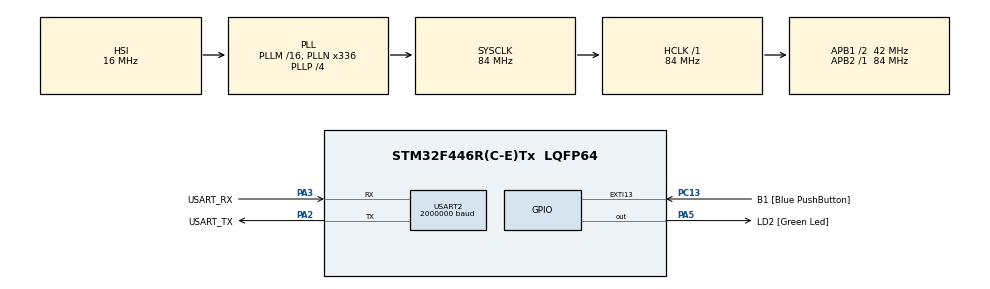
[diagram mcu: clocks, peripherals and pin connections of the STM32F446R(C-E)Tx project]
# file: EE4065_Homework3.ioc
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Mcu.Family=STM32F4
Mcu.Name=STM32F446R(C-E)Tx
Mcu.Package=LQFP64
NVIC.PriorityGroup=NVIC_PRIORITYGROUP_0
PA13.GPIO_Label=TMS
PA13.Signal=SYS_JTMS-SWDIO
PA14.GPIO_Label=TCK
PA14.Signal=SYS_JTCK-SWCLK
PA2.GPIO_Label=USART_TX
PA2.Mode=Asynchronous
PA2.Signal=USART2_TX
PA3.GPIO_Label=USART_RX
PA3.Mode=Asynchronous
PA3.Signal=USART2_RX
PA5.GPIO_Label=LD2 [Green Led]
PA5.Signal=GPIO_Output
PB3.GPIO_Label=SWO
PB3.Signal=SYS_JTDO-SWO
PC13.GPIO_Label=B1 [Blue PushButton]
PC13.GPIO_ModeDefaultEXTI=GPIO_MODE_IT_FALLING
PC13.Signal=GPXTI13
PC14-OSC32_IN.Signal=RCC_OSC32_IN
PC15-OSC32_OUT.Signal=RCC_OSC32_OUT
PH0-OSC_IN.Signal=RCC_OSC_IN
PH1-OSC_OUT.Signal=RCC_OSC_OUT
ProjectManager.HeapSize=0x200
ProjectManager.StackSize=0x400
ProjectManager.TargetToolchain=STM32CubeIDE
RCC.AHBFreq_Value=84000000
RCC.APB1CLKDivider=RCC_HCLK_DIV2
RCC.APB1Freq_Value=42000000
RCC.APB1TimFreq_Value=84000000
RCC.APB2Freq_Value=84000000
RCC.APB2TimFreq_Value=84000000
RCC.CortexFreq_Value=84000000
RCC.FLatency-AdvancedSettings=FLASH_LATENCY_2
RCC.HCLKFreq_Value=84000000
RCC.HSE_VALUE=8000000
RCC.HSI_VALUE=16000000
RCC.LSE_VALUE=32768
RCC.PLLN=336
RCC.PLLP=RCC_PLLP_DIV4
RCC.SYSCLKFreq_VALUE=84000000
RCC.SYSCLKSource=RCC_SYSCLKSOURCE_PLLCLK
RCC.USBFreq_Value=168000000
RCC.VCOOutputFreq_Value=336000000
USART2.BaudRate=2000000
USART2.VirtualMode=VM_ASYNC
board=NUCLEO-F446RE

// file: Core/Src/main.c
/* USER CODE BEGIN Header */
/**
  ******************************************************************************
  * @file           : main.c
  * @brief          : Main program body
  ******************************************************************************
  * @attention
  *
  * Copyright (c) 2025 STMicroelectronics.
  * All rights reserved.
  *
  * This software is licensed under terms that can be found in the LICENSE file
  * in the root directory of this software component.
  * If no LICENSE file comes with this software, it is provided AS-IS.
  *
  ******************************************************************************
  */
/* USER CODE END Header */
#include "main.h"

/* USER CODE BEGIN Includes */
#include "image_processing.h"
#include "lib_image.h"
#include "lib_serialimage.h"
#include "app_homeworks.h"
/* USER CODE END Includes */

UART_HandleTypeDef huart2;

/* USER CODE BEGIN PV */
#define IMG_WIDTH 128
#define IMG_HEIGHT 128
#define NUM_PIXELS (IMG_WIDTH * IMG_HEIGHT) // 16384 olmalı

// 1. GİRİŞ/ÇIKIŞ BUFFER'LARI (RGB565 formatında)
// Seri porttan gelen ve giden veriler bu yapıyı kullanır (2 Byte/Piksel).
volatile uint8_t pImage_RGB565[IMG_WIDTH * IMG_HEIGHT * 2];

// 2. İŞLEME BUFFER'LARI (8-bit Gri Tonlama formatında)
// Görüntü işleme bu buffer üzerinde yapılır (1 Byte/Piksel).
uint8_t processed_image[NUM_PIXELS];
uint8_t original_gray_image[NUM_PIXELS];
// Diğer histogram ve kernel tanımları burada kalır...

// SERİ İLETİŞİM YAPISI (lib_image.h'den gelmelidir)
IMAGE_HandleTypeDef img; // Tek bir yapıyı hem alma hem gönderme için kullanacağız.
// Mod Seçici Değişken (Varsayılan Q2 olsun)
volatile AppMode_t currentMode = MODE_Q1_OTSU_GRAY;
/* USER CODE END PV */

void SystemClock_Config(void);
static void MX_GPIO_Init(void);
static void MX_USART2_UART_Init(void);

/* USER CODE BEGIN 0 */
// 128x128 çözünürlük, RGB565 (2 byte) formatı için buffer
volatile uint8_t pImage[128*128*2];
IMAGE_HandleTypeDef img;
/* USER CODE END 0 */

int main(void)
{

  /* MCU Configuration--------------------------------------------------------*/

  /* Reset of all peripherals, Initializes the Flash interface and the Systick. */
  HAL_Init();

  /* Configure the system clock */
  SystemClock_Config();

  /* Initialize all configured peripherals */
  MX_GPIO_Init();
  MX_USART2_UART_Init();
  /* USER CODE BEGIN 2 */
    // Görüntü Yapısını Başlat (Alış/Gönderim Buffer'ı)
    LIB_IMAGE_InitStruct(&img, (uint8_t*)pImage_RGB565, IMG_WIDTH, IMG_HEIGHT, IMAGE_FORMAT_RGB565);
  /* USER CODE END 2 */

  /* Infinite loop */
  /* USER CODE BEGIN WHILE */
    while (1)
      {
          // Seçilen moda göre ilgili ödev fonksiyonunu çağır.
          switch (currentMode)
          {
              case MODE_Q1_OTSU_GRAY:
                  // Soru 1: Gri Otsu
                  App_Run_Q1_OtsuGray(&img, original_gray_image, processed_image, NUM_PIXELS);
                  break;

              case MODE_Q2_OTSU_COLOR:
                  // Soru 2: Renkli Otsu
                  App_Run_Q2_OtsuColor(&img, (uint16_t*)pImage_RGB565, original_gray_image, processed_image, NUM_PIXELS);
                  break;

              case MODE_Q3_DILATION:
                  // Soru 3: Dilation
                  App_Run_Q3_Morph(&img, original_gray_image, processed_image, IMG_WIDTH, IMG_HEIGHT, 0);
                  break;

              case MODE_Q3_EROSION:
                  // Soru 3: Erosion
                  App_Run_Q3_Morph(&img, original_gray_image, processed_image, IMG_WIDTH, IMG_HEIGHT, 1);
                  break;

              case MODE_Q3_OPENING:
                  // Soru 3: Opening
                  App_Run_Q3_Morph(&img, original_gray_image, processed_image, IMG_WIDTH, IMG_HEIGHT, 2);
                  break;

              case MODE_Q3_CLOSING:
                  // Soru 3: Closing
                  App_Run_Q3_Morph(&img, original_gray_image, processed_image, IMG_WIDTH, IMG_HEIGHT, 3);
                  break;

              default:
                  // Idle modu: Bekle (veya LED yak söndür)
                  HAL_Delay(100);
                  break;
          }
    /* USER CODE END WHILE */

      }
}

void SystemClock_Config(void)
{
  RCC_OscInitTypeDef RCC_OscInitStruct = {0};
  RCC_ClkInitTypeDef RCC_ClkInitStruct = {0};

  /** Configure the main internal regulator output voltage
  */
  __HAL_RCC_PWR_CLK_ENABLE();
  __HAL_PWR_VOLTAGESCALING_CONFIG(PWR_REGULATOR_VOLTAGE_SCALE3);

  /** Initializes the RCC Oscillators according to the specified parameters
  * in the RCC_OscInitTypeDef structure.
  */
  RCC_OscInitStruct.OscillatorType = RCC_OSCILLATORTYPE_HSI;
  RCC_OscInitStruct.HSIState = RCC_HSI_ON;
  RCC_OscInitStruct.HSICalibrationValue = RCC_HSICALIBRATION_DEFAULT;
  RCC_OscInitStruct.PLL.PLLState = RCC_PLL_ON;
  RCC_OscInitStruct.PLL.PLLSource = RCC_PLLSOURCE_HSI;
  RCC_OscInitStruct.PLL.PLLM = 16;
  RCC_OscInitStruct.PLL.PLLN = 336;
  RCC_OscInitStruct.PLL.PLLP = RCC_PLLP_DIV4;
  RCC_OscInitStruct.PLL.PLLQ = 2;
  RCC_OscInitStruct.PLL.PLLR = 2;
  if (HAL_RCC_OscConfig(&RCC_OscInitStruct) != HAL_OK)
  {
    Error_Handler();
  }

  /** Initializes the CPU, AHB and APB buses clocks
  */
  RCC_ClkInitStruct.ClockType = RCC_CLOCKTYPE_HCLK|RCC_CLOCKTYPE_SYSCLK
                              |RCC_CLOCKTYPE_PCLK1|RCC_CLOCKTYPE_PCLK2;
  RCC_ClkInitStruct.SYSCLKSource = RCC_SYSCLKSOURCE_PLLCLK;
  RCC_ClkInitStruct.AHBCLKDivider = RCC_SYSCLK_DIV1;
  RCC_ClkInitStruct.APB1CLKDivider = RCC_HCLK_DIV2;
  RCC_ClkInitStruct.APB2CLKDivider = RCC_HCLK_DIV1;

  if (HAL_RCC_ClockConfig(&RCC_ClkInitStruct, FLASH_LATENCY_2) != HAL_OK)
  {
    Error_Handler();
  }
}

static void MX_USART2_UART_Init(void)
{

  huart2.Instance = USART2;
  huart2.Init.BaudRate = 2000000;
  huart2.Init.WordLength = UART_WORDLENGTH_8B;
  huart2.Init.StopBits = UART_STOPBITS_1;
  huart2.Init.Parity = UART_PARITY_NONE;
  huart2.Init.Mode = UART_MODE_TX_RX;
  huart2.Init.HwFlowCtl = UART_HWCONTROL_NONE;
  huart2.Init.OverSampling = UART_OVERSAMPLING_16;
  if (HAL_UART_Init(&huart2) != HAL_OK)
  {
    Error_Handler();
  }

}

static void MX_GPIO_Init(void)
{
  GPIO_InitTypeDef GPIO_InitStruct = {0};

  /* GPIO Ports Clock Enable */
  __HAL_RCC_GPIOC_CLK_ENABLE();
  __HAL_RCC_GPIOH_CLK_ENABLE();
  __HAL_RCC_GPIOA_CLK_ENABLE();
  __HAL_RCC_GPIOB_CLK_ENABLE();

  /*Configure GPIO pin Output Level */
  HAL_GPIO_WritePin(LD2_GPIO_Port, LD2_Pin, GPIO_PIN_RESET);

  /*Configure GPIO pin : B1_Pin */
  GPIO_InitStruct.Pin = B1_Pin;
  GPIO_InitStruct.Mode = GPIO_MODE_IT_FALLING;
  GPIO_InitStruct.Pull = GPIO_NOPULL;
  HAL_GPIO_Init(B1_GPIO_Port, &GPIO_InitStruct);

  /*Configure GPIO pin : LD2_Pin */
  GPIO_InitStruct.Pin = LD2_Pin;
  GPIO_InitStruct.Mode = GPIO_MODE_OUTPUT_PP;
  GPIO_InitStruct.Pull = GPIO_NOPULL;
  GPIO_InitStruct.Speed = GPIO_SPEED_FREQ_LOW;
  HAL_GPIO_Init(LD2_GPIO_Port, &GPIO_InitStruct);

}

/* USER CODE BEGIN 4 */
// Butona basıldığında (Interrupt) bu fonksiyon çalışır

/* USER CODE END 4 */

void Error_Handler(void)
{
  __disable_irq();
  while (1)
  {
  }
}
